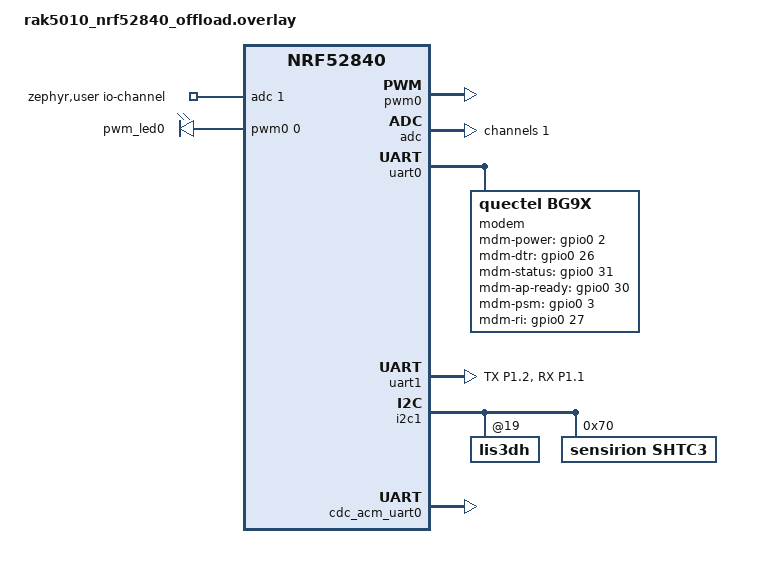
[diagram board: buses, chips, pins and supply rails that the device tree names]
#include <zephyr/dt-bindings/sensor/lis2dh.h>
#include <zephyr/dt-bindings/pwm/pwm.h>

/ {
	chosen {
		zephyr,console = &uart1;
		zephyr,shell-uart = &cdc_acm_uart0;
	};

	aliases {
		pwm-led0 = &pwm_led0;
	};

	zephyr,user {
		io-channels = <&adc 1>;
	};

	pwmleds {
		compatible = "pwm-leds";

		pwm_led0: pwm_led_0 {
			pwms = <&pwm0 0 PWM_MSEC(20) PWM_POLARITY_INVERTED>;
		};
	};
};

&pinctrl {
	uart1_ext_default: uart1_ext_default {
		group1 {
			psels = <NRF_PSEL(UART_TX, 1, 2)>,
				<NRF_PSEL(UART_RX, 1, 1)>;
		};
	};

	uart1_ext_sleep: uart1_ext_sleep {
		group1 {
			psels = <NRF_PSEL(UART_TX, 1, 2)>,
				<NRF_PSEL(UART_RX, 1, 1)>;
			low-power-enable;
		};
	};
};

&led0 {
	status = "disabled";
};

&pwm0 {
	status = "okay";
	pinctrl-0 = <&pwm0_default>;
	pinctrl-1 = <&pwm0_sleep>;
	pinctrl-names = "default", "sleep";
};

&adc {
	#address-cells = <1>;
	#size-cells = <0>;

	channel@1 {
		reg = <1>;
		zephyr,gain = "ADC_GAIN_1_6";
		zephyr,reference = "ADC_REF_INTERNAL";
		zephyr,acquisition-time = <ADC_ACQ_TIME_DEFAULT>;
		zephyr,input-positive = <NRF_SAADC_AIN1>;
		zephyr,resolution = <12>;
	};
};

&uart0 {
	modem: modem {
		compatible = "quectel,bg9x";
		mdm-power-gpios = <&gpio0 2 GPIO_ACTIVE_HIGH>;
		mdm-dtr-gpios = <&gpio0 26 GPIO_ACTIVE_HIGH>;
		mdm-status-gpios = <&gpio0 31 GPIO_ACTIVE_HIGH>;
		mdm-ap-ready-gpios = <&gpio0 30 GPIO_ACTIVE_HIGH>;
		mdm-psm-gpios = <&gpio0 3 GPIO_ACTIVE_HIGH>;
		mdm-ri-gpios = <&gpio0 27 GPIO_ACTIVE_HIGH>;
		status = "okay";
	};
};

&uart1 {
	pinctrl-0 = <&uart1_ext_default>;
	pinctrl-1 = <&uart1_ext_sleep>;
	pinctrl-names = "default", "sleep";
};

&i2c1 {
	lis3dh: lis3dh@19 {
		anym-on-int1;
		int1-gpio-config = <LIS2DH_DT_GPIO_INT_EDGE_RISING>;
		int2-gpio-config = <LIS2DH_DT_GPIO_INT_EDGE_RISING>;
	};

	shtc3: shtc3@70 {
		compatible = "sensirion,shtc3", "sensirion,shtcx";
		reg = <0x70>;
		measure-mode = "normal";
		clock-stretching;
	};
};

&zephyr_udc0 {
	cdc_acm_uart0: cdc_acm_uart0 {
		compatible = "zephyr,cdc-acm-uart";
	};
};
